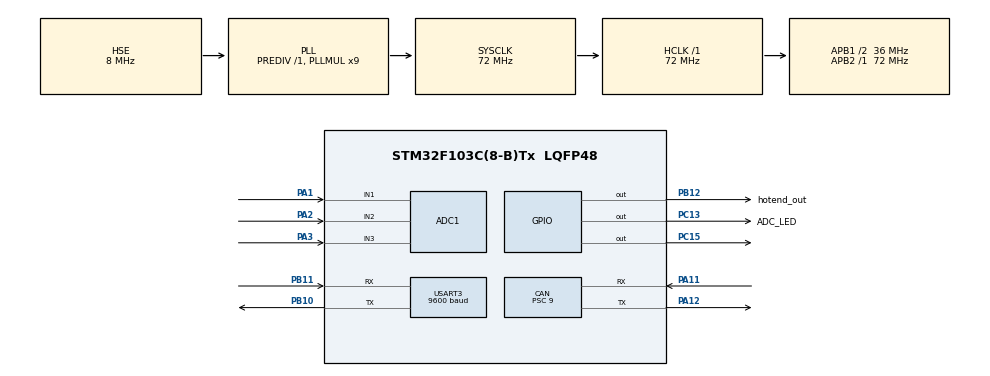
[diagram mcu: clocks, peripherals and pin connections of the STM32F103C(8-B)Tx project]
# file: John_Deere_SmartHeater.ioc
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Mcu.Family=STM32F1
PB10.Mode=Asynchronous
ADC1.ContinuousConvMode=ENABLE
ADC1.Channel-17\#ChannelRegularConversion=ADC_CHANNEL_1
SH.ADCx_IN2.0=ADC1_IN2,IN2
ADC1.SamplingTime-6\#ChannelRegularConversion=ADC_SAMPLETIME_13CYCLES_5
ADC1.Rank-17\#ChannelRegularConversion=8
PA11.Mode=CAN_Activate
ADC1.SamplingTime-21\#ChannelRegularConversion=ADC_SAMPLETIME_13CYCLES_5
ADC1.SamplingTime-24\#ChannelRegularConversion=ADC_SAMPLETIME_7CYCLES_5
PB11.Signal=USART3_RX
RCC.SYSCLKSource=RCC_SYSCLKSOURCE_PLLCLK
ProjectManager.StackSize=0x400
PD1-OSC_OUT.Signal=RCC_OSC_OUT
PA12.Signal=CAN_TX
CAN.Prescaler=9
USART3.BaudRate=9600
ADC1.Channel-5\#ChannelRegularConversion=ADC_CHANNEL_1
ADC1.Rank-23\#ChannelRegularConversion=14
ADC1.Channel-3\#ChannelRegularConversion=ADC_CHANNEL_1
RCC.HCLKFreq_Value=72000000
SH.ADCx_IN3.0=ADC1_IN3,IN3
RCC.APB2TimFreq_Value=72000000
Dma.ADC1.0.Direction=DMA_PERIPH_TO_MEMORY
ADC1.Channel-2\#ChannelRegularConversion=ADC_CHANNEL_1
ADC1.Rank-21\#ChannelRegularConversion=12
Dma.ADC1.0.MemDataAlignment=DMA_MDATAALIGN_HALFWORD
RCC.AHBFreq_Value=72000000
ADC1.Rank-20\#ChannelRegularConversion=11
RCC.PLLMUL=RCC_PLL_MUL9
PB12.GPIO_Label=hotend_out
ADC1.SamplingTime-4\#ChannelRegularConversion=ADC_SAMPLETIME_13CYCLES_5
ADC1.Channel-6\#ChannelRegularConversion=ADC_CHANNEL_1
ADC1.Rank-2\#ChannelRegularConversion=2
ADC1.Channel-19\#ChannelRegularConversion=ADC_CHANNEL_1
PA14.Mode=Serial_Wire
Dma.ADC1.0.PeriphInc=DMA_PINC_DISABLE
ADC1.Rank-19\#ChannelRegularConversion=10
VP_FREERTOS_VS_CMSIS_V1.Mode=CMSIS_V1
CAN.CalculateTimeQuantum=250.0
ADC1.SamplingTime-23\#ChannelRegularConversion=ADC_SAMPLETIME_7CYCLES_5
Mcu.Package=LQFP48
NVIC.TimeBase=TIM4_IRQn
ADC1.Channel-23\#ChannelRegularConversion=ADC_CHANNEL_2
NVIC.TimeBaseIP=TIM4
ADC1.SamplingTime-17\#ChannelRegularConversion=ADC_SAMPLETIME_13CYCLES_5
ADC1.Channel-21\#ChannelRegularConversion=ADC_CHANNEL_1
SH.ADCx_IN1.0=ADC1_IN1,IN1
RCC.APB1TimFreq_Value=72000000
Dma.Request0=ADC1
ADC1.Rank-6\#ChannelRegularConversion=6
ADC1.Rank-4\#ChannelRegularConversion=4
ADC1.SamplingTime-19\#ChannelRegularConversion=ADC_SAMPLETIME_13CYCLES_5
PA3.Signal=ADCx_IN3
RCC.PLLSourceVirtual=RCC_PLLSOURCE_HSE
Dma.ADC1.0.Instance=DMA1_Channel1
FREERTOS.Tasks01=adcRead,0,128,StartadcRead,Default,NULL,Dynamic,NULL,NULL;hotEnd,2,128,StarthotEnd,Default,NULL,Dynamic,NULL,NULL;CAN_sendDiagnos,0,128,StartCAN_sendDiagnostics,Default,NULL,Dynamic,NULL,NULL;efuse,0,128,Startefuse,Default,NULL,Dynamic,NULL,NULL
ADC1.Rank-22\#ChannelRegularConversion=13
PD1-OSC_OUT.Mode=HSE-External-Oscillator
ADC1.Channel-4\#ChannelRegularConversion=ADC_CHANNEL_1
ADC1.Channel-22\#ChannelRegularConversion=ADC_CHANNEL_2
CAN.CalculateBaudRate=250000
ADC1.Rank-18\#ChannelRegularConversion=9
PC13-TAMPER-RTC.Signal=GPIO_Output
PD0-OSC_IN.Signal=RCC_OSC_IN
ADC1.SamplingTime-25\#ChannelRegularConversion=ADC_SAMPLETIME_7CYCLES_5
RCC.APB1CLKDivider=RCC_HCLK_DIV2
ADC1.Channel-25\#ChannelRegularConversion=ADC_CHANNEL_3
CAN.CalculateTimeBit=4000.00
ADC1.SamplingTime-2\#ChannelRegularConversion=ADC_SAMPLETIME_13CYCLES_5
ADC1.Channel-7\#ChannelRegularConversion=ADC_CHANNEL_1
ADC1.Rank-25\#ChannelRegularConversion=16
RCC.ADCPresc=RCC_ADCPCLK2_DIV6
PA13.Signal=SYS_JTMS-SWDIO
Dma.ADC1.0.PeriphDataAlignment=DMA_PDATAALIGN_HALFWORD
CAN.BS2=CAN_BS2_2TQ
CAN.BS1=CAN_BS1_13TQ
PB11.Mode=Asynchronous
ProjectManager.TargetToolchain=STM32CubeIDE
ADC1.SamplingTime-20\#ChannelRegularConversion=ADC_SAMPLETIME_13CYCLES_5
Dma.ADC1.0.Mode=DMA_CIRCULAR
ADC1.Channel-18\#ChannelRegularConversion=ADC_CHANNEL_1
Dma.ADC1.0.Priority=DMA_PRIORITY_LOW
ADC1.Channel-1\#ChannelRegularConversion=ADC_CHANNEL_1
RCC.USBFreq_Value=72000000
PC15-OSC32_OUT.Signal=GPIO_Output
PA1.Signal=ADCx_IN1
PB10.Signal=USART3_TX
PD0-OSC_IN.Mode=HSE-External-Oscillator
board=custom
PC13-TAMPER-RTC.GPIO_Label=ADC_LED
USART3.WordLength=WORDLENGTH_9B
RCC.APB2Freq_Value=72000000
ADC1.Channel-24\#ChannelRegularConversion=ADC_CHANNEL_3
ADC1.Channel-20\#ChannelRegularConversion=ADC_CHANNEL_1
NVIC.USB_LP_CAN1_RX0_IRQn=true\:5\:0\:false\:false\:true\:true\:true\:true
ADC1.Rank-24\#ChannelRegularConversion=15
ADC1.SamplingTime-22\#ChannelRegularConversion=ADC_SAMPLETIME_7CYCLES_5
ADC1.NbrOfConversion=16
PA13.Mode=Serial_Wire
Mcu.Name=STM32F103C(8-B)Tx
PA2.Signal=ADCx_IN2
ADC1.SamplingTime-1\#ChannelRegularConversion=ADC_SAMPLETIME_13CYCLES_5
RCC.SYSCLKFreq_VALUE=72000000
ADC1.master=1
PA12.Mode=CAN_Activate
ADC1.SamplingTime-3\#ChannelRegularConversion=ADC_SAMPLETIME_13CYCLES_5
ADC1.Rank-3\#ChannelRegularConversion=3
USART3.VirtualMode=VM_ASYNC
ADC1.Rank-1\#ChannelRegularConversion=1
PA11.Signal=CAN_RX
Dma.ADC1.0.MemInc=DMA_MINC_ENABLE
PA14.Signal=SYS_JTCK-SWCLK
ProjectManager.HeapSize=0x200
VP_SYS_VS_tim4.Mode=TIM4
ADC1.SamplingTime-5\#ChannelRegularConversion=ADC_SAMPLETIME_13CYCLES_5
ADC1.Rank-7\#ChannelRegularConversion=7
FREERTOS.Mutexes01=mutexCAN,Dynamic,NULL
NVIC.PriorityGroup=NVIC_PRIORITYGROUP_4
ADC1.NbrOfConversionFlag=1
ADC1.SamplingTime-7\#ChannelRegularConversion=ADC_SAMPLETIME_13CYCLES_5
NVIC.DMA1_Channel1_IRQn=true\:5\:0\:false\:false\:true\:true\:false\:true
NVIC.TIM4_IRQn=true\:0\:0\:false\:false\:true\:false\:false\:true
RCC.APB1Freq_Value=36000000
ADC1.SamplingTime-18\#ChannelRegularConversion=ADC_SAMPLETIME_13CYCLES_5
ADC1.Rank-5\#ChannelRegularConversion=5
PB12.Signal=GPIO_Output

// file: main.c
/* USER CODE BEGIN Header */
/**
  ******************************************************************************
  * @file           : main.c
  * @brief          : Main program body
  ******************************************************************************
  * @attention
  *
  * <h2><center>&copy; Copyright (c) 2021 STMicroelectronics.
  * All rights reserved.</center></h2>
  *
  * This software component is licensed by ST under BSD 3-Clause license,
  * the "License"; You may not use this file except in compliance with the
  * License. You may obtain a copy of the License at:
  *                        opensource.org/licenses/BSD-3-Clause
  *
  ******************************************************************************
  */
/* USER CODE END Header */
#include "main.h"
#include "cmsis_os.h"

/* USER CODE BEGIN Includes */
#include <math.h>

/* USER CODE END Includes */

/* USER CODE BEGIN PTD */
typedef uint8_t boolean_T;

typedef struct {
    float  Gain;                         /* '<S1>/Gain' */
    float  Vin;                          /* '<S1>/Divide' */
    float Subtract;                     /* '<S3>/Subtract' */
    uint16_t adcSat;                     /* '<Root>/Saturation' */
    uint16_t currentHigh;                /* '<S2>/Cast' */
    uint16_t Cast1;                      /* '<S2>/Cast1' */
    uint16_t courrentLow;                /* '<S2>/Gain' */
    boolean_T Compare;                   /* '<S4>/Compare' */
    boolean_T Compare_m;                 /* '<S5>/Compare' */
} B_adc2current_T;

/* External inputs (root inport signals with default storage) */
typedef struct {
    uint16_t adcOut;                     /* '<Root>/Input' */
} ExtU_adc2current_T;

/* External outputs (root outports fed by signals with default storage) */
typedef struct {
    float  Iout;                         /* '<Root>/Iout' */
    uint16_t CurrentState;              /* '<Root>/CurrentState' */
} ExtY_adc2current_T;

/* USER CODE END PTD */

/* USER CODE BEGIN PD */
#define ID_EXT 		0x18FEEE97 //ID HOT-END ID ident 97
#define RX_ID_EXT  	0x04F03700
#define DTC_ID_EXT 	0x18FECA97 //ID DM1

//Constantes de Formula Steinhart-Hart
#define c1  2.114990448e-03
#define c2 0.3832381228e-04
#define c3 5.228061052e-07
#define ADC_RESOLUTION 4096.0 //ADC resolution value

//Consta voltajeRead
#define ADCResolution 4096.0F
#define Vref 3.3F        //voltage ref
#define MAX_VOL 2.19395 //max voltage 2.19395 2.126448 13
#define MIN_VOL 1.90705 //min voltage 1.907 11.3 1.923929 11.4
#define OFF_SET 40       //OFF SET of data in SPN 110 and SPN 5825

//ADC CONSTANTS
#define MAX_ADC_CONV 16 //ADC DMA buffer size
#define ADC_TEMP 12     //ADC buffer size for temp
#define MAX_CURRENT  3.3F //MAX CURRENT CIRCUIT

#define EMA_a 0.5 //Low pass filter alpha
/* USER CODE END PD */

ADC_HandleTypeDef hadc1;
DMA_HandleTypeDef hdma_adc1;

CAN_HandleTypeDef hcan;

UART_HandleTypeDef huart3;

osThreadId adcReadHandle;
osThreadId hotEndHandle;
osThreadId CAN_sendDiagnosHandle;
osThreadId efuseHandle;
osMutexId mutexCANHandle;
/* USER CODE BEGIN PV */

CAN_RxHeaderTypeDef rxHeader; //CAN Bus Receive Header
CAN_TxHeaderTypeDef txHeader; //CAN Bus Transmit Header
CAN_TxHeaderTypeDef txDTC; //CAN Bus Transmit DTC Header
uint8_t canRX[8] = {0,0,0,0,0,0,0,0};  //CAN Bus Receive Buffer
uint8_t canTxTemp[8] = {0xFF,0xFF,0xFF,0xFF,0xFF,0xFF,0xFF,0xFF}; //CAN Bus Transmit Temp Buffer
uint8_t canTxDTC[8]  = {0xFF,0xFF,0,0,0,0,0xFF,0xFF}; //CAN Bus Transmit DTC Buffer no errors
//							      SPN  0, FMI,CC
uint8_t canTxDM1[8]  = {0xFF,0xFF,0x6E,0 ,0 , 0,0xFF,0xFF}; //CAN Bus Transmit DM1 Buffer report
CAN_FilterTypeDef canfil; //CAN Bus Filter
uint32_t canMailbox; //CAN Bus Mail box variable

//uint32_t adcBuffer [MAX_ADC_CONV] ={0,0,0,0,0,0,0,0,0,0,0,0,0,0,0,0};
uint16_t adcBuffer [MAX_ADC_CONV] =  {0,0,0,0,0,0,0,0,0,0,0,0,0,0,0,0};
uint16_t raw[ADC_TEMP] = {0,0,0,0,0,0,0,0,0,0,0,0};
uint8_t datUart[] = "Hello \r\n";

uint8_t errorEst = 0; //error flag
uint16_t temp=0; //global temp

uint32_t delayFuse = 10;

//Temperatur values
int Vo;
float R1 = 100000;
float logR2, R2, T;
float Tc; //Temp in celsius

uint8_t setPoint =0;

//diagnostics variables
uint8_t data, dataStatus; //temp status

uint8_t volState =0; //voltage state

uint8_t eFuseState=0; //software fuse state 0 is ok, 1 blaw
//end diagnostics variables

enum FMI_No{
	FMI0, //Data Valid but Above Normal Operational Range
	FMI1, //Data Valid but Below Normal Operational Range
	FMI2,
	FMI3,
	FMI4,
	FMI5,
	FMI6
}; //FMI No.

uint8_t countError[8] = {0,0,0,0,0,0,0,0};
uint16_t countTimH=0; //occurrence count

/* Block signals (default storage) */
B_adc2current_T adc2current_B;

/* External inputs (root inport signals with default storage) */
ExtU_adc2current_T adc2current_U;

/* External outputs (root outports fed by signals with default storage) */
ExtY_adc2current_T adc2current_Y;

/* USER CODE END PV */

void SystemClock_Config(void);
static void MX_GPIO_Init(void);
static void MX_DMA_Init(void);
static void MX_ADC1_Init(void);
static void MX_CAN_Init(void);
static void MX_USART3_UART_Init(void);
void StartadcRead(void const * argument);
void StarthotEnd(void const * argument);
void StartCAN_sendDiagnostics(void const * argument);
void Startefuse(void const * argument);

/* USER CODE BEGIN PFP */
uint32_t Linear_Interpolation(float x0,float y0,float x1, float y1, float current);
/* USER CODE END PFP */

int main(void)
{

  /* MCU Configuration--------------------------------------------------------*/

  /* Reset of all peripherals, Initializes the Flash interface and the Systick. */
  HAL_Init();

  /* Configure the system clock */
  SystemClock_Config();

  /* Initialize all configured peripherals */
  MX_GPIO_Init();
  MX_DMA_Init();
  MX_ADC1_Init();
  MX_CAN_Init();
  MX_USART3_UART_Init();
  /* USER CODE BEGIN 2 */

  	canfil.FilterBank = 0;
  	canfil.FilterMode = CAN_FILTERMODE_IDMASK;
  	canfil.FilterScale = CAN_FILTERSCALE_32BIT;
    canfil.FilterFIFOAssignment = CAN_RX_FIFO0;
    canfil.FilterIdHigh = 0;
    canfil.FilterIdLow = 0;
    canfil.FilterMaskIdHigh = 0;
    canfil.FilterMaskIdLow = 0;
    canfil.FilterActivation = ENABLE;
    canfil.SlaveStartFilterBank = 14;

    txHeader.DLC = 8;
    txHeader.IDE = CAN_ID_EXT;//Select the ext version
    txHeader.RTR = CAN_RTR_DATA;
    //txHeader.StdId = 0x030;
    txHeader.ExtId = ID_EXT;//ID extendend
    txHeader.TransmitGlobalTime = DISABLE;

    //DTC configuration
    txDTC.DLC = 8;
    txDTC.IDE = CAN_ID_EXT; //Select the ext version
    txDTC.RTR = CAN_RTR_DATA;
     //txHeader.StdId = 0x030;
    txDTC.ExtId = DTC_ID_EXT;//ID extendend
    txDTC.TransmitGlobalTime = DISABLE;

    HAL_CAN_ConfigFilter(&hcan,&canfil);//Config CAN bus
    HAL_CAN_Start(&hcan);//star CAN bus

    //ADC config.
    HAL_ADC_Start_DMA(&hadc1, (uint32_t *)adcBuffer, MAX_ADC_CONV);

    //Interrup
    //HAL_CAN_ActivateNotification(&hcan,CAN_IT_RX_FIFO0_MSG_PENDING);//callback

  /* USER CODE END 2 */

  /* Create the mutex(es) */
  /* definition and creation of mutexCAN */
  osMutexDef(mutexCAN);
  mutexCANHandle = osMutexCreate(osMutex(mutexCAN));

  /* Create the thread(s) */
  /* definition and creation of adcRead */
  osThreadDef(adcRead, StartadcRead, osPriorityNormal, 0, 128);
  adcReadHandle = osThreadCreate(osThread(adcRead), NULL);

  /* definition and creation of hotEnd */
  osThreadDef(hotEnd, StarthotEnd, osPriorityHigh, 0, 128);
  hotEndHandle = osThreadCreate(osThread(hotEnd), NULL);

  /* definition and creation of CAN_sendDiagnos */
  osThreadDef(CAN_sendDiagnos, StartCAN_sendDiagnostics, osPriorityNormal, 0, 128);
  CAN_sendDiagnosHandle = osThreadCreate(osThread(CAN_sendDiagnos), NULL);

  /* definition and creation of efuse */
  osThreadDef(efuse, Startefuse, osPriorityNormal, 0, 128);
  efuseHandle = osThreadCreate(osThread(efuse), NULL);

  /* Start scheduler */
  osKernelStart();

  /* We should never get here as control is now taken by the scheduler */
  /* Infinite loop */
  while (1)
  {

  }
}

void SystemClock_Config(void)
{
  RCC_OscInitTypeDef RCC_OscInitStruct = {0};
  RCC_ClkInitTypeDef RCC_ClkInitStruct = {0};
  RCC_PeriphCLKInitTypeDef PeriphClkInit = {0};

  /** Initializes the RCC Oscillators according to the specified parameters
  * in the RCC_OscInitTypeDef structure.
  */
  RCC_OscInitStruct.OscillatorType = RCC_OSCILLATORTYPE_HSE;
  RCC_OscInitStruct.HSEState = RCC_HSE_ON;
  RCC_OscInitStruct.HSEPredivValue = RCC_HSE_PREDIV_DIV1;
  RCC_OscInitStruct.HSIState = RCC_HSI_ON;
  RCC_OscInitStruct.PLL.PLLState = RCC_PLL_ON;
  RCC_OscInitStruct.PLL.PLLSource = RCC_PLLSOURCE_HSE;
  RCC_OscInitStruct.PLL.PLLMUL = RCC_PLL_MUL9;
  if (HAL_RCC_OscConfig(&RCC_OscInitStruct) != HAL_OK)
  {
    Error_Handler();
  }
  /** Initializes the CPU, AHB and APB buses clocks
  */
  RCC_ClkInitStruct.ClockType = RCC_CLOCKTYPE_HCLK|RCC_CLOCKTYPE_SYSCLK
                              |RCC_CLOCKTYPE_PCLK1|RCC_CLOCKTYPE_PCLK2;
  RCC_ClkInitStruct.SYSCLKSource = RCC_SYSCLKSOURCE_PLLCLK;
  RCC_ClkInitStruct.AHBCLKDivider = RCC_SYSCLK_DIV1;
  RCC_ClkInitStruct.APB1CLKDivider = RCC_HCLK_DIV2;
  RCC_ClkInitStruct.APB2CLKDivider = RCC_HCLK_DIV1;

  if (HAL_RCC_ClockConfig(&RCC_ClkInitStruct, FLASH_LATENCY_2) != HAL_OK)
  {
    Error_Handler();
  }
  PeriphClkInit.PeriphClockSelection = RCC_PERIPHCLK_ADC;
  PeriphClkInit.AdcClockSelection = RCC_ADCPCLK2_DIV6;
  if (HAL_RCCEx_PeriphCLKConfig(&PeriphClkInit) != HAL_OK)
  {
    Error_Handler();
  }
}

static void MX_ADC1_Init(void)
{

  ADC_ChannelConfTypeDef sConfig = {0};

  /** Common config
  */
  hadc1.Instance = ADC1;
  hadc1.Init.ScanConvMode = ADC_SCAN_ENABLE;
  hadc1.Init.ContinuousConvMode = ENABLE;
  hadc1.Init.DiscontinuousConvMode = DISABLE;
  hadc1.Init.ExternalTrigConv = ADC_SOFTWARE_START;
  hadc1.Init.DataAlign = ADC_DATAALIGN_RIGHT;
  hadc1.Init.NbrOfConversion = 16;
  if (HAL_ADC_Init(&hadc1) != HAL_OK)
  {
    Error_Handler();
  }
  /** Configure Regular Channel
  */
  sConfig.Channel = ADC_CHANNEL_1;
  sConfig.Rank = ADC_REGULAR_RANK_1;
  sConfig.SamplingTime = ADC_SAMPLETIME_13CYCLES_5;
  if (HAL_ADC_ConfigChannel(&hadc1, &sConfig) != HAL_OK)
  {
    Error_Handler();
  }
  /** Configure Regular Channel
  */
  sConfig.Rank = ADC_REGULAR_RANK_2;
  if (HAL_ADC_ConfigChannel(&hadc1, &sConfig) != HAL_OK)
  {
    Error_Handler();
  }
  /** Configure Regular Channel
  */
  sConfig.Rank = ADC_REGULAR_RANK_3;
  if (HAL_ADC_ConfigChannel(&hadc1, &sConfig) != HAL_OK)
  {
    Error_Handler();
  }
  /** Configure Regular Channel
  */
  sConfig.Rank = ADC_REGULAR_RANK_4;
  if (HAL_ADC_ConfigChannel(&hadc1, &sConfig) != HAL_OK)
  {
    Error_Handler();
  }
  /** Configure Regular Channel
  */
  sConfig.Rank = ADC_REGULAR_RANK_5;
  if (HAL_ADC_ConfigChannel(&hadc1, &sConfig) != HAL_OK)
  {
    Error_Handler();
  }
  /** Configure Regular Channel
  */
  sConfig.Rank = ADC_REGULAR_RANK_6;
  if (HAL_ADC_ConfigChannel(&hadc1, &sConfig) != HAL_OK)
  {
    Error_Handler();
  }
  /** Configure Regular Channel
  */
  sConfig.Rank = ADC_REGULAR_RANK_7;
  if (HAL_ADC_ConfigChannel(&hadc1, &sConfig) != HAL_OK)
  {
    Error_Handler();
  }
  /** Configure Regular Channel
  */
  sConfig.Rank = ADC_REGULAR_RANK_8;
  if (HAL_ADC_ConfigChannel(&hadc1, &sConfig) != HAL_OK)
  {
    Error_Handler();
  }
  /** Configure Regular Channel
  */
  sConfig.Rank = ADC_REGULAR_RANK_9;
  if (HAL_ADC_ConfigChannel(&hadc1, &sConfig) != HAL_OK)
  {
    Error_Handler();
  }
  /** Configure Regular Channel
  */
  sConfig.Rank = ADC_REGULAR_RANK_10;
  if (HAL_ADC_ConfigChannel(&hadc1, &sConfig) != HAL_OK)
  {
    Error_Handler();
  }
  /** Configure Regular Channel
  */
  sConfig.Rank = ADC_REGULAR_RANK_11;
  if (HAL_ADC_ConfigChannel(&hadc1, &sConfig) != HAL_OK)
  {
    Error_Handler();
  }
  /** Configure Regular Channel
  */
  sConfig.Rank = ADC_REGULAR_RANK_12;
  if (HAL_ADC_ConfigChannel(&hadc1, &sConfig) != HAL_OK)
  {
    Error_Handler();
  }
  /** Configure Regular Channel
  */
  sConfig.Channel = ADC_CHANNEL_2;
  sConfig.Rank = ADC_REGULAR_RANK_13;
  sConfig.SamplingTime = ADC_SAMPLETIME_7CYCLES_5;
  if (HAL_ADC_ConfigChannel(&hadc1, &sConfig) != HAL_OK)
  {
    Error_Handler();
  }
  /** Configure Regular Channel
  */
  sConfig.Rank = ADC_REGULAR_RANK_14;
  if (HAL_ADC_ConfigChannel(&hadc1, &sConfig) != HAL_OK)
  {
    Error_Handler();
  }
  /** Configure Regular Channel
  */
  sConfig.Channel = ADC_CHANNEL_3;
  sConfig.Rank = ADC_REGULAR_RANK_15;
  if (HAL_ADC_ConfigChannel(&hadc1, &sConfig) != HAL_OK)
  {
    Error_Handler();
  }
  /** Configure Regular Channel
  */
  sConfig.Rank = ADC_REGULAR_RANK_16;
  if (HAL_ADC_ConfigChannel(&hadc1, &sConfig) != HAL_OK)
  {
    Error_Handler();
  }

}

static void MX_CAN_Init(void)
{

  hcan.Instance = CAN1;
  hcan.Init.Prescaler = 9;
  hcan.Init.Mode = CAN_MODE_NORMAL;
  hcan.Init.SyncJumpWidth = CAN_SJW_1TQ;
  hcan.Init.TimeSeg1 = CAN_BS1_13TQ;
  hcan.Init.TimeSeg2 = CAN_BS2_2TQ;
  hcan.Init.TimeTriggeredMode = DISABLE;
  hcan.Init.AutoBusOff = DISABLE;
  hcan.Init.AutoWakeUp = DISABLE;
  hcan.Init.AutoRetransmission = DISABLE;
  hcan.Init.ReceiveFifoLocked = DISABLE;
  hcan.Init.TransmitFifoPriority = DISABLE;
  if (HAL_CAN_Init(&hcan) != HAL_OK)
  {
    Error_Handler();
  }

}

static void MX_USART3_UART_Init(void)
{

  huart3.Instance = USART3;
  huart3.Init.BaudRate = 9600;
  huart3.Init.WordLength = UART_WORDLENGTH_9B;
  huart3.Init.StopBits = UART_STOPBITS_1;
  huart3.Init.Parity = UART_PARITY_NONE;
  huart3.Init.Mode = UART_MODE_TX_RX;
  huart3.Init.HwFlowCtl = UART_HWCONTROL_NONE;
  huart3.Init.OverSampling = UART_OVERSAMPLING_16;
  if (HAL_UART_Init(&huart3) != HAL_OK)
  {
    Error_Handler();
  }

}

static void MX_DMA_Init(void)
{

  /* DMA controller clock enable */
  __HAL_RCC_DMA1_CLK_ENABLE();

  /* DMA interrupt init */
  /* DMA1_Channel1_IRQn interrupt configuration */
  HAL_NVIC_SetPriority(DMA1_Channel1_IRQn, 5, 0);
  HAL_NVIC_EnableIRQ(DMA1_Channel1_IRQn);

}

static void MX_GPIO_Init(void)
{
  GPIO_InitTypeDef GPIO_InitStruct = {0};

  /* GPIO Ports Clock Enable */
  __HAL_RCC_GPIOC_CLK_ENABLE();
  __HAL_RCC_GPIOD_CLK_ENABLE();
  __HAL_RCC_GPIOA_CLK_ENABLE();
  __HAL_RCC_GPIOB_CLK_ENABLE();

  /*Configure GPIO pin Output Level */
  HAL_GPIO_WritePin(GPIOC, ADC_LED_Pin|GPIO_PIN_15, GPIO_PIN_RESET);

  /*Configure GPIO pin Output Level */
  HAL_GPIO_WritePin(hotend_out_GPIO_Port, hotend_out_Pin, GPIO_PIN_RESET);

  /*Configure GPIO pins : ADC_LED_Pin PC15 */
  GPIO_InitStruct.Pin = ADC_LED_Pin|GPIO_PIN_15;
  GPIO_InitStruct.Mode = GPIO_MODE_OUTPUT_PP;
  GPIO_InitStruct.Pull = GPIO_NOPULL;
  GPIO_InitStruct.Speed = GPIO_SPEED_FREQ_LOW;
  HAL_GPIO_Init(GPIOC, &GPIO_InitStruct);

  /*Configure GPIO pin : hotend_out_Pin */
  GPIO_InitStruct.Pin = hotend_out_Pin;
  GPIO_InitStruct.Mode = GPIO_MODE_OUTPUT_PP;
  GPIO_InitStruct.Pull = GPIO_NOPULL;
  GPIO_InitStruct.Speed = GPIO_SPEED_FREQ_LOW;
  HAL_GPIO_Init(hotend_out_GPIO_Port, &GPIO_InitStruct);

}

/* USER CODE BEGIN 4 */
/**
  * @brief  Function implementing the Callback RX CAN.
  * @param  argument: Not used
  * @retval Global variable the CAN Rx Buffer
  */
/* USER CODE END Header_StartadcRead */
void HAL_CAN_RxFifo0MsgPendingCallback(CAN_HandleTypeDef *hcan1)
{
	//static uint8_t txMessage[8] = { 0x8C, 0, 0, 0, 0, 0, 0, 0 };
//	HAL_CAN_GetRxMessage(hcan1, CAN_RX_FIFO0, &rxHeader, canRX);
//	if(rxHeader.ExtId == RX_ID_EXT){
		// HAL_CAN_AddTxMessage(&hcan, &txHeader, canTxTemp, &canMailbox);
//	}
	//HAL_GPIO_TogglePin(GPIOC, GPIO_PIN_15);
	//HAL_GPIO_WritePin(GPIOC, GPIO_PIN_15, GPIO_PIN_SET);
	//osMutexWait(mutexCANHandle, 20);
	//HAL_GPIO_TogglePin(GPIOC, ADC_LED_Pin);

	//osMutexRelease(mutexCANHandle);

}

void ADC2Celsius(uint16_t ADC) {
    //funcion de par obtner temperatura a base de lectura ADC
    if (ADC <= 180) {
        Vo = 50;
    }
    else {
        Vo = ADC;
    }
    R2 = R1 * (ADC_RESOLUTION / (float)Vo - 1.0);
    logR2 = log(R2);

    T = (1.0 / (c1 + c2 * logR2 + c3 * logR2 * logR2 * logR2));
    Tc = T - 273.15;

    if (Tc <= -40 || Tc >= 240) {
        data = 1;// dato invalido
        dataStatus = 3;//invalido
    }
    else {
        if (Tc > 0 && Tc < 100) {
            data = 0;//dato valido
            dataStatus = 0;//Normal
        }
        else if (Tc <= 0) {
            data = 0;
            dataStatus = 2;//Low
        }
        else if (Tc >= 100) {
            data = 0;
            dataStatus = 1;//High
        }
    }
}

void adc2current_step()
{
  uint16_t u0;

  /* Saturate: '<Root>/Saturation' incorporates:
   *  Inport: '<Root>/Input'
   */
  u0 = adc2current_U.adcOut;
  if (u0 > 4095) {
    /* Saturate: '<Root>/Saturation' */
    adc2current_B.adcSat = 4095U;
  } else if (u0 < 1985) {
    /* Saturate: '<Root>/Saturation' */
    adc2current_B.adcSat = 1985U;
  } else {
    /* Saturate: '<Root>/Saturation' */
    adc2current_B.adcSat = u0;
  }

  /* End of Saturate: '<Root>/Saturation' */

  /* Gain: '<S1>/Gain' */
  adc2current_B.Gain = 3.3 * (float)adc2current_B.adcSat;

  /* Product: '<S1>/Divide' incorporates:
   *  Constant: '<Root>/Constant'
   */
  adc2current_B.Vin = (float)adc2current_B.Gain / 4096.0;

  /* Sum: '<S3>/Subtract' incorporates:
   *  Constant: '<Root>/Constant1'
   */
  adc2current_B.Subtract = adc2current_B.Vin - 2.5;

  /* Outport: '<Root>/Iout' incorporates:
   *  Constant: '<Root>/Constant2'
   *  Product: '<S3>/Divide1'
   */
  adc2current_Y.Iout = adc2current_B.Subtract / 0.18;

  /* RelationalOperator: '<S4>/Compare' incorporates:
   *  Constant: '<S4>/Constant'
   *  Outport: '<Root>/Iout'
   */
  adc2current_B.Compare = (adc2current_Y.Iout >= MAX_CURRENT);

  /* DataTypeConversion: '<S2>/Cast' */
  adc2current_B.currentHigh = adc2current_B.Compare;

  /* RelationalOperator: '<S5>/Compare' incorporates:
   *  Constant: '<S5>/Constant'
   *  Outport: '<Root>/Iout'
   */
  adc2current_B.Compare_m = (adc2current_Y.Iout <= 0.1);

  /* DataTypeConversion: '<S2>/Cast1' */
  adc2current_B.Cast1 = adc2current_B.Compare_m;

  /* Gain: '<S2>/Gain' */
  adc2current_B.courrentLow = (uint16_t)(adc2current_B.Cast1 << 1);

  /* Outport: '<Root>/CurrentState' incorporates:
   *  Sum: '<S2>/Add'
   */
  adc2current_Y.CurrentState = (uint16_t)((uint32_t)adc2current_B.currentHigh +adc2current_B.courrentLow);

 // return 0;
}

void DiagnosticCheck(){
	//para esta parte todos tienen que tener su estado calculado
		  //Diagnostics
		  if(dataStatus != 0 || volState !=0 || adc2current_Y.CurrentState!=0 || eFuseState){
		      //hay error tenemos que cheecar
		      if(dataStatus == 1){
		  		  //temp >= 100
		  		  countTimH++;
		  		  if(countTimH>=7){
		  			  //Han pasaso 7s tem >=7
		  			  //prepare the DM1
		  			  countError[FMI0]++;
		  			  errorEst =1; //dar de alta la banderea de error
		  			  canTxDM1[4] =   FMI0;
		  			  canTxDM1[5] =   countError[FMI0];
		  		  }
		  	  }else if(dataStatus == 2){
		  		  //low temp
		  		  errorEst =1;
		  		  countError[FMI1]++;
		  		  // DM1 FM1
		  		  canTxDM1[4] =   FMI1;
		  		  canTxDM1[5] =   countError[FMI1];
		  	  }else if(dataStatus ==3){
		  		  //error data incorrect
		  		  errorEst =1;
		  		  countError[FMI2]++;
		  		  // DM1 FM2
		  		  canTxDM1[4] =   FMI2;
		  		  canTxDM1[5] =   countError[FMI2];
		  	  }else if(volState == 1){
		  		  //High voltage
		  		  errorEst =1;
		  		  countError[FMI3]++;
		  		  // DM1 FM3
		  		  canTxDM1[4] =   FMI3;
		  		  canTxDM1[5] =   countError[FMI3];
		  	  }else if(volState == 2){
		  		  //Low voltage
		  		  errorEst =1;
		  		  countError[FMI4]++;
		  		  // DM1 FM4
		  		  canTxDM1[4] =   FMI4;
		  		  canTxDM1[5] =   countError[FMI4];
		  	  }else if(adc2current_Y.CurrentState == 2){
		  		  //Low Current
		  		  errorEst =1;
		  		  countError[FMI5]++;
		  		  canTxDM1[4] =   FMI5;
		  		  canTxDM1[5] =   countError[FMI5];
		  	  }else if(!eFuseState){
		  		  //the fuse blown graounded circuit
		  		  errorEst =1;
		  		countError[FMI6]++;
		  		canTxDM1[4] =   FMI6;
		  		canTxDM1[5] =   countError[FMI6];
		  	  }
		  }else{
		      //no hay erroes
			  for(uint8_t i=0;i<8;i++){
				  countError[i]=0;
			  }
		      countTimH =0;
		      errorEst  =0;
		  }

		  //send cand msg
		  if(errorEst){
			  //send DM1 and temp == FF

			  HAL_CAN_AddTxMessage(&hcan, &txDTC, canTxDM1, &canMailbox);

			  osDelay(100);

			  canTxTemp[0] = 0xFF;
			  HAL_CAN_AddTxMessage(&hcan, &txHeader, canTxTemp, &canMailbox);

		  }else{
			  //send DTC zeros and temp
			  //HAL_CAN_DeactivateNotification(&hcan, CAN_IT_RX_FIFO0_MSG_PENDING);
			  HAL_CAN_AddTxMessage(&hcan, &txDTC, canTxDTC, &canMailbox);
			  osDelay(15);
			  //HAL_CAN_ActivateNotification(&hcan, CAN_IT_RX_FIFO0_MSG_PENDING);
			  osDelay(85);
			  //HAL_CAN_DeactivateNotification(&hcan, CAN_IT_RX_FIFO0_MSG_PENDING);
			  canTxTemp[0] = temp;
			  HAL_CAN_AddTxMessage(&hcan, &txHeader, canTxTemp, &canMailbox);
			 // HAL_CAN_ActivateNotification(&hcan, CAN_IT_RX_FIFO0_MSG_PENDING);
		  }
}

uint8_t voltageErrorDet(uint16_t ADCvalue){
    uint8_t state = 0;
    float voltage =0.0F;

    if(ADCvalue >= ADCResolution){
        voltage = Vref;
    }else{
        voltage = ((float)(ADCvalue * Vref) )/ ADCResolution;
    }

    if(voltage >= MAX_VOL){
        state = 1;
    }else if(voltage <= MIN_VOL){
        state = 2;
    }else{
        state = 0;
    }

    return state;
}
uint32_t Linear_Interpolation(float x0,float y0,float x1, float y1, float current){
	uint32_t yp;
	yp = (uint32_t)((y0 + ((y1-y0)/(x1-x0)) * (current - x0))*100);
	return yp;
}

/* USER CODE END 4 */

void StartadcRead(void const * argument)
{
  /* USER CODE BEGIN 5 */
	//uint16_t raw[2] ={1950,0};
	uint16_t prom =0;
	float EMA_S = 1.0F;
	float EMA_ant =0.0F;
	//uint16_t adcVal[8];
  /* Infinite loop */
  for(;;)
  {
	  if(!eFuseState){
		  HAL_GPIO_TogglePin(GPIOC, GPIO_PIN_15);
		  for(uint8_t i=0; i<ADC_TEMP;i++){
			  prom += adcBuffer[i];
		  }
		  prom =prom/ADC_TEMP;
		  EMA_S = (EMA_a * prom) + ((1-EMA_a)*EMA_ant);//Low pass filter
		  EMA_ant = EMA_S;
		  ADC2Celsius((uint16_t)EMA_S);//Temp calculation
		  temp = (uint16_t)Tc + 40; //temp tiene la temp a enviar

		  if(setPoint >= (temp-OFF_SET)){
			  HAL_GPIO_WritePin(hotend_out_GPIO_Port, hotend_out_Pin, GPIO_PIN_RESET);
		  }else{
			  HAL_GPIO_WritePin(hotend_out_GPIO_Port, hotend_out_Pin, GPIO_PIN_SET);
		  }
	  }

    osDelay(200);
  }
  /* USER CODE END 5 */
}

void StarthotEnd(void const * argument)
{
  /* USER CODE BEGIN StarthotEnd */
	//float auxTemp;
	uint32_t canNum=0;
	uint8_t i;
  /* Infinite loop */
  for(;;)
  {
	  canNum = HAL_CAN_GetRxFifoFillLevel(&hcan, CAN_RX_FIFO0);
	  	  if(canNum>=1){
	  		  for(i=0; i<canNum;i++){
	  			  HAL_CAN_GetRxMessage(&hcan, CAN_RX_FIFO0, &rxHeader, canRX);
	  			  if(rxHeader.ExtId >= RX_ID_EXT && rxHeader.ExtId <= (RX_ID_EXT+0xFF)){
	  			  		//ya tenemos la informacion
	  				  setPoint = canRX[0] - OFF_SET;
	  				  HAL_GPIO_TogglePin(GPIOC, ADC_LED_Pin);

	  			  }
	  		  }
	  	  }
	  	  //HAL_GPIO_TogglePin(GPIOC, ADC_LED_Pin);
	      osDelay(20);
	    }

  /* USER CODE END StarthotEnd */
}

/* USER CODE BEGIN Header_StartCAN_sendDiagnostics */
/**
* @brief Function implementing the CAN_sendDiagnostic and temp msg thread.
* @param argument: Not used
* @retval None
*/
/* USER CODE END Header_StartCAN_sendDiagnostics */
void StartCAN_sendDiagnostics(void const * argument)
{
  /* USER CODE BEGIN StartCAN_sendDiagnostics */

	adc2current_Y.CurrentState=0;
	uint16_t volProm =0; //Average voltage read
  /* Infinite loop */
  for(;;)
  {
	  //calcular voltaje
	 volProm = (adcBuffer[12]+adcBuffer[13])/2;
	 volState = voltageErrorDet(volProm);  //voltage state
	 DiagnosticCheck();
    osDelay(900);
  }
  /* USER CODE END StartCAN_sendDiagnostics */
}

void Startefuse(void const * argument)
{
  /* USER CODE BEGIN Startefuse */
	uint16_t currentRaw [2];
	float currentP; //corriente en porcentaje
	uint32_t globalTime = 0;
	uint32_t auxTime; //time to blow
	uint8_t flag=0;
	uint32_t count2blow=0;
	//uint32_t aux=0;
  /* Infinite loop */
  for(;;)
  {

	  if(!eFuseState){
		  currentRaw[0] = adcBuffer[MAX_ADC_CONV-2];
		  currentRaw[1] = adcBuffer[MAX_ADC_CONV-1];
		  adc2current_U.adcOut =  (currentRaw[0]+currentRaw[1])/2;
		  adc2current_step();
		  //The fuse is ok
		  currentP = (adc2current_Y.Iout*100)/MAX_CURRENT;
//		  if(currentP >= 4.5){
//			  //protect the power supplay
//			  eFuseState =1;
//			  //we need to switch on to turn off the system
//			  HAL_GPIO_WritePin(hotend_out_GPIO_Port, hotend_out_Pin, GPIO_PIN_SET);
//		  }else if(currentP>=100 && currentP <110 ){
//			 auxTime = Linear_Interpolation(100, 2000, 110, 200, currentP);
//		  }
		  if(currentP >= 100){

			 if(currentP >= 135){
				 //protect the power supplay
				 eFuseState =1;
				 //we need to switch on to turn off the system
				 HAL_GPIO_WritePin(hotend_out_GPIO_Port, hotend_out_Pin, GPIO_PIN_SET);
			 }else if(currentP>=100 && currentP <110 ){
				 auxTime = Linear_Interpolation(100, 2000, 110, 200, currentP);
			 }else if(currentP>=110 && currentP <135 ){
				 auxTime = Linear_Interpolation(100, 2000, 110, 200, currentP);
			 }
			 if(!flag){
				 globalTime = auxTime;
				 flag =1;
			 }else{
				 if(globalTime>auxTime){
					 globalTime = globalTime - auxTime;
				 }
			 }
			 count2blow++;
			 //to blow
			 if(count2blow >= globalTime){
				 eFuseState =1;
				 //we need to switch on to turn off the system
				 HAL_GPIO_WritePin(hotend_out_GPIO_Port, hotend_out_Pin, GPIO_PIN_SET);
			 }

		  }
	  }
    osDelay(delayFuse);

  }
  /* USER CODE END Startefuse */
}

 /**
  * @brief  Period elapsed callback in non blocking mode
  * @note   This function is called  when TIM4 interrupt took place, inside
  * HAL_TIM_IRQHandler(). It makes a direct call to HAL_IncTick() to increment
  * a global variable "uwTick" used as application time base.
  * @param  htim : TIM handle
  * @retval None
  */
void HAL_TIM_PeriodElapsedCallback(TIM_HandleTypeDef *htim)
{
  if (htim->Instance == TIM4) {
    HAL_IncTick();
  }
}

void Error_Handler(void)
{
  __disable_irq();
  while (1)
  {
  }
}

/************************ (C) COPYRIGHT STMicroelectronics *****END OF FILE****/
